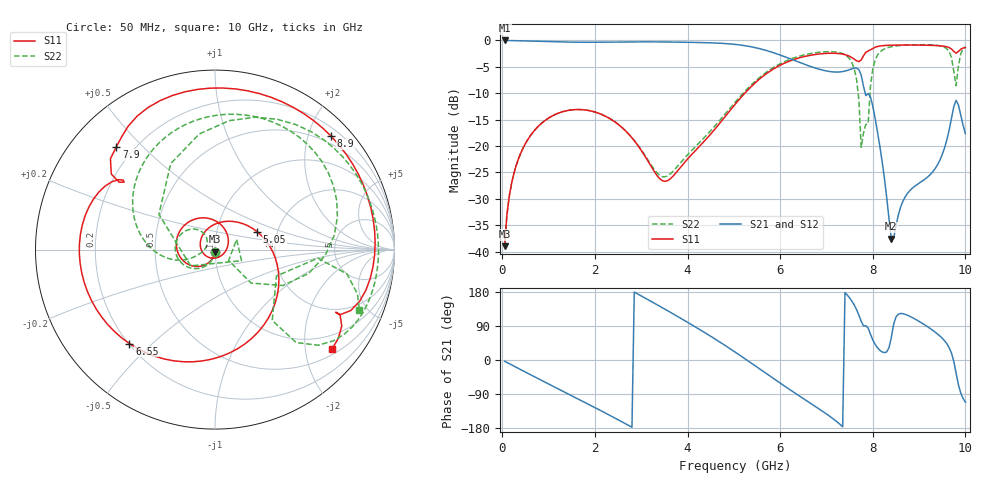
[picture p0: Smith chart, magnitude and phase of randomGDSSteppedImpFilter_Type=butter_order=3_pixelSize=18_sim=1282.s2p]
! freq	dB(S11)	phase(S11)	dB(S12)	phase(S12)
!  dB(S21)	phase(S21)	dB(S22)	phase(S22)
!S-par simulation data
#  GHz  S  DB  R 50
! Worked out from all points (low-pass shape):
!   200 points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, 50 MHz to 10 GHz, reference 50 ohm
!   highest |S21| = -0.01 dB at 50 MHz (marker M1); lowest = -37.5 dB at 8.4 GHz (marker M2)
!   |S21| within 3 dB of the highest: start of sweep to 6.074 GHz
!   lowest |S11| = -39.0 dB at 50 MHz (marker M3), VSWR 1.02, Z = 49.9 - j1.13 ohm
!   |S11| at or under -10 dB: start of sweep to 5.236 GHz
!   |S22| runs from -38.9 to -0.8 dB; largest |S21 - S12| = 0
!   S11 on the Smith chart (normalised r, x): 50 MHz: 1.00, -0.02; 5.05 GHz: 1.57, +0.33; 6.55 GHz: 0.20, -0.43; 7.9 GHz: 0.14, +0.42; 8.9 GHz: 0.35, +2.41; 10 GHz: 0.63, -2.60
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0.05  -38.95 -92.0  -0.01 -3.3  -0.01 -3.3  -38.95 -91.5
0.5  -19.53 -124.5  -0.09 -31.9  -0.09 -31.9  -19.52 -120.1
1.75  -13.13 149.1  -0.35 -109.9  -0.35 -109.9  -13.12 170.0
2.65  -17.03 75.4  -0.29 -167.5  -0.29 -167.5  -17.00 129.7
3.4  -26.19 -41.1  -0.28 141.9  -0.28 141.9  -25.55 147.5
4.25  -20.12 141.6  -0.40 81.4  -0.40 81.4  -19.39 -162.0
5.05  -11.86 23.0  -0.77 19.1  -0.77 19.1  -11.46 -169.6
5.85  -5.43 -67.4  -2.31 -48.4  -2.31 -48.4  -5.15 145.6
6.55  -3.00 -132.3  -4.60 -105.8  -4.60 -105.8  -2.68 95.8
6.7  -2.74 -145.1  -5.06 -117.8  -5.06 -117.8  -2.42 84.8
7.45  -2.83 153.6  -5.68 171.3  -5.68 171.3  -3.03 14.8
7.65  -3.86 142.8  -5.22 133.0  -5.22 133.0  -7.37 -27.9
7.75  -3.70 144.9  -6.56 102.4  -6.56 102.4  -20.24 -38.5
7.9  -2.01 133.8  -10.05 84.3  -10.05 84.3  -15.75 -146.3
8.05  -1.30 120.2  -14.71 41.5  -14.71 41.5  -3.74 97.8
8.35  -0.92 91.6  -33.74 32.4  -33.74 32.4  -1.30 45.3
8.4  -0.90 87.2  -37.54 59.0  -37.54 59.0  -1.19 40.3
8.9  -0.87 44.3  -27.64 108.9  -27.64 108.9  -0.82 4.9
9.5  -1.06 -6.2  -21.60 57.3  -21.60 57.3  -1.14 -29.4
9.75  -2.08 -27.4  -12.51 -3.9  -12.51 -3.9  -5.89 -51.1
9.85  -2.08 -27.6  -12.23 -65.6  -12.23 -65.6  -4.81 -4.8
10  -1.35 -40.2  -17.64 -111.3  -17.64 -111.3  -1.19 -22.7
